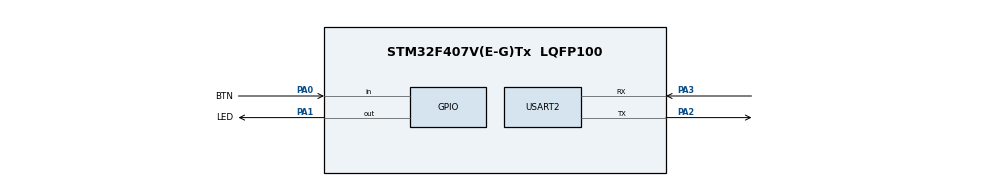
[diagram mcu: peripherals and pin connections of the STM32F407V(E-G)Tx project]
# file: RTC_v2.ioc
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Mcu.Family=STM32F4
Mcu.Name=STM32F407V(E-G)Tx
Mcu.Package=LQFP100
NVIC.PriorityGroup=NVIC_PRIORITYGROUP_4
NVIC.RTC_Alarm_IRQn=true\:0\:0\:false\:false\:true\:true\:true
PA0-WKUP.GPIO_Label=BTN
PA0-WKUP.GPIO_PuPd=GPIO_PULLDOWN
PA0-WKUP.Signal=GPIO_Input
PA1.GPIO_Label=LED
PA1.Signal=GPIO_Output
PA13.Mode=Serial_Wire
PA13.Signal=SYS_JTMS-SWDIO
PA14.Mode=Serial_Wire
PA14.Signal=SYS_JTCK-SWCLK
PA2.Mode=Asynchronous
PA2.Signal=USART2_TX
PA3.Mode=Asynchronous
PA3.Signal=USART2_RX
PH0-OSC_IN.Mode=HSE-External-Oscillator
PH0-OSC_IN.Signal=RCC_OSC_IN
PH1-OSC_OUT.Mode=HSE-External-Oscillator
PH1-OSC_OUT.Signal=RCC_OSC_OUT
ProjectManager.HeapSize=0x200
ProjectManager.StackSize=0x400
ProjectManager.TargetToolchain=STM32CubeIDE
RCC.48MHZClocksFreq_Value=84000000
RCC.AHBFreq_Value=168000000
RCC.APB1CLKDivider=RCC_HCLK_DIV4
RCC.APB1Freq_Value=42000000
RCC.APB1TimFreq_Value=84000000
RCC.APB2CLKDivider=RCC_HCLK_DIV2
RCC.APB2Freq_Value=84000000
RCC.APB2TimFreq_Value=168000000
RCC.CortexFreq_Value=168000000
RCC.HCLKFreq_Value=168000000
RCC.HSE_VALUE=8000000
RCC.HSI_VALUE=16000000
RCC.LSE_VALUE=32768
RCC.PLLM=4
RCC.PLLN=168
RCC.PLLSourceVirtual=RCC_PLLSOURCE_HSE
RCC.SYSCLKFreq_VALUE=168000000
RCC.SYSCLKSource=RCC_SYSCLKSOURCE_PLLCLK
RCC.VCOOutputFreq_Value=336000000
RTC.Alarm=RTC_ALARM_A
RTC.Date=19
RTC.Hours=12
RTC.Hours_A=12
RTC.Minutes=45
RTC.Minutes_A=46
RTC.Seconds=50
RTC.Year=21
USART2.VirtualMode=VM_ASYNC
VP_RTC_VS_RTC_Activate.Mode=RTC_Enabled
VP_RTC_VS_RTC_Alarm_A_Intern.Mode=Alarm A
VP_RTC_VS_RTC_Calendar.Mode=RTC_Calendar
board=custom

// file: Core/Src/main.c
/* USER CODE BEGIN Header */
/**
 ******************************************************************************
 * @file           : main.c
 * @brief          : Main program body
 ******************************************************************************
 * @attention
 *
 * <h2><center>&copy; Copyright (c) 2021 STMicroelectronics.
 * All rights reserved.</center></h2>
 *
 * This software component is licensed by ST under BSD 3-Clause license,
 * the "License"; You may not use this file except in compliance with the
 * License. You may obtain a copy of the License at:
 *                        opensource.org/licenses/BSD-3-Clause
 *
 ******************************************************************************
 */
/* USER CODE END Header */
#include "main.h"

/* USER CODE BEGIN Includes */
#include "stdio.h"
#include "string.h"
/* USER CODE END Includes */

RTC_HandleTypeDef hrtc;

UART_HandleTypeDef huart2;

/* USER CODE BEGIN PV */
char time[10];
char date[10];

uint8_t alarm = 0;

char TxData[] = "Buttom is pressed!\r\n"; // Массив данных которые отправляем на ПК.
char TxData2[] = "Redy!\r\n"; // Массив данных которые отправляем на ПК.
char trans_str[64] = { 0, }; // Для вывода 'Time' and 'Date' данных в UART.

RTC_TimeTypeDef sTime = { 0 };
RTC_DateTypeDef DateToUpdate = { 0 };
RTC_AlarmTypeDef sAlarm = { 0 }; // структура будильника

/* USER CODE END PV */

void SystemClock_Config(void);
static void MX_GPIO_Init(void);
static void MX_RTC_Init(void);
static void MX_USART2_UART_Init(void);

/* USER CODE BEGIN 0 */
void set_time(void) {
	RTC_TimeTypeDef sTime = { 0 };
	RTC_DateTypeDef sDate = { 0 };
	/** Initialize RTC and set the Time and Date */
	sTime.Hours = 0x12;    // 12ч.
	sTime.Minutes = 0x45;  // 45м.
	sTime.Seconds = 0x50;  // 50с.
	sTime.DayLightSaving = RTC_DAYLIGHTSAVING_NONE;
	sTime.StoreOperation = RTC_STOREOPERATION_RESET;
	if (HAL_RTC_SetTime(&hrtc, &sTime, RTC_FORMAT_BCD) != HAL_OK) {
		Error_Handler();
	}
	sDate.WeekDay = RTC_WEEKDAY_TUESDAY;
	sDate.Month = RTC_MONTH_OCTOBER;
	sDate.Date = 0x19;
	sDate.Year = 0x21;

	if (HAL_RTC_SetDate(&hrtc, &sDate, RTC_FORMAT_BCD) != HAL_OK) {
		Error_Handler();
	}
	/* Backup register to store TIME and DATE! */
	//HAL_RTCEx_BKUPWrite(&hrtc, RTC_BKP_DR1, 0x32F2);  // backup register
}

void set_alarm(void) {
	RTC_AlarmTypeDef sAlarm = { 0 };
	/** Enable the Alarm A
	 */
	sAlarm.AlarmTime.Hours = 0x12;    // 12ч.
	sAlarm.AlarmTime.Minutes = 0x46;  // 46м.
	sAlarm.AlarmTime.Seconds = 0x0; // 0 сек.
	sAlarm.AlarmTime.SubSeconds = 0x0;
	sAlarm.AlarmTime.DayLightSaving = RTC_DAYLIGHTSAVING_NONE;
	sAlarm.AlarmTime.StoreOperation = RTC_STOREOPERATION_RESET;
	sAlarm.AlarmMask = RTC_ALARMMASK_NONE;
	sAlarm.AlarmSubSecondMask = RTC_ALARMSUBSECONDMASK_ALL;
	sAlarm.AlarmDateWeekDaySel = RTC_ALARMDATEWEEKDAYSEL_DATE;
	sAlarm.AlarmDateWeekDay = 0x13; // 19
	sAlarm.Alarm = RTC_ALARM_A;
	if (HAL_RTC_SetAlarm_IT(&hrtc, &sAlarm, RTC_FORMAT_BCD) != HAL_OK) {
		Error_Handler();
	}

}

void get_time(void) {

		RTC_TimeTypeDef sTime = { 0 };
		RTC_DateTypeDef sDate = { 0 };

		/* Get the RTC current Time */
		HAL_RTC_GetTime(&hrtc, &sTime, RTC_FORMAT_BIN);
		/* Get the RTC current Date */
		HAL_RTC_GetDate(&hrtc, &sDate, RTC_FORMAT_BIN);

		/* Display time Format: hh:mm:ss */
		sprintf((char*) time, "%02d:%02d:%02d", sTime.Hours, sTime.Minutes,
				sTime.Seconds);

		/* Display date Format: mm-dd-yy */
		sprintf((char*) date, "%02d-%02d-%2d", sDate.Date, sDate.Month,
				2000 + sDate.Year);  // I like the date first

	}

	void display_time(void) { //Let's display the time and date on lcd
		//lcd_send_cmd (0x80);
		//lcd_send_string (time);
		//lcd_send_cmd (0xc0);
		//lcd_send_string (date);

		HAL_RTC_GetTime(&hrtc, &sTime, RTC_FORMAT_BIN); // RTC_FORMAT_BIN , RTC_FORMAT_BCD
		//snprintf(trans_str, 63, "Time %d:%d:%d\n", sTime.Hours, sTime.Minutes, sTime.Seconds);
		snprintf(trans_str, 63, "Time %d:%d:%d:%lu\n", sTime.Hours,sTime.Minutes, sTime.Seconds, sTime.SubSeconds);
		HAL_UART_Transmit(&huart2, (uint8_t*) trans_str, strlen(trans_str),1000);

		HAL_RTC_GetDate(&hrtc, &DateToUpdate, RTC_FORMAT_BIN);
		snprintf(trans_str, 63, "Date %d-%d-20%d\n", DateToUpdate.Date,DateToUpdate.Month, DateToUpdate.Year);
		HAL_UART_Transmit(&huart2, (uint8_t*) trans_str, strlen(trans_str),1000);

		HAL_RTC_GetAlarm(&hrtc, &sAlarm, RTC_ALARM_A, RTC_FORMAT_BIN);
		snprintf(trans_str, 63, "Alarm %d:%d:%d\n", sAlarm.AlarmTime.Hours,sAlarm.AlarmTime.Minutes, sAlarm.AlarmTime.Seconds);
		HAL_UART_Transmit(&huart2, (uint8_t*) trans_str, strlen(trans_str),1000);

		HAL_UART_Abort(&huart2); // Обрываем связь UART
	}

	void to_do_on_alarm(void)  // Действие на срабатывание будильника
	{
		HAL_GPIO_WritePin(GPIOA, GPIO_PIN_1, 0);  // set led ON
		//lcd_send_cmd (0x80);
		//lcd_send_string ("SUBSCRIBE TO");
		//lcd_send_cmd (0xc0);
		//lcd_send_string ("this CHANNEL");
		//HAL_Delay (3000);
		//lcd_send_cmd (0x80);
		//for (int i=0;i<60;i++)
		//{
		//lcd_send_data (' ');  // clear lcd
		//}
	}
	/* USER CODE END 0 */

	/**
	 * @brief  The application entry point.
	 * @retval int
	 */
	int main(void) {

		/* MCU Configuration--------------------------------------------------------*/

		/* Reset of all peripherals, Initializes the Flash interface and the Systick. */
		HAL_Init();

		/* Configure the system clock */
		SystemClock_Config();

		/* Initialize all configured peripherals */
		MX_GPIO_Init();
		MX_RTC_Init();
		MX_USART2_UART_Init();
		/* USER CODE BEGIN 2 */
		HAL_GPIO_WritePin(GPIOA, GPIO_PIN_1, 1);  // Отключим по дефолку LED

		/* Backup register to store TIME and DATE! */
		if (HAL_RTCEx_BKUPRead(&hrtc, RTC_BKP_DR1) != 0x32F2) // Time is not restting now!
				{
		set_time(); // Set the time
		}

		set_alarm();

		HAL_UART_Transmit(&huart2, (uint8_t*) TxData2, sizeof(TxData2), 500);
		/* USER CODE END 2 */

		/* Infinite loop */
		while (1) {

			/* USER CODE BEGIN 3 */
			if (HAL_GPIO_ReadPin(GPIOA, GPIO_PIN_0) == GPIO_PIN_SET) {
				display_time();
				HAL_Delay(1000);
			}

			//display_time();
			get_time();
			HAL_Delay(500);

			if (alarm) {
				to_do_on_alarm();
				alarm = 0;
			}
		}
		/* USER CODE END 3 */
	}

	/**
	 * @brief System Clock Configuration
	 * @retval None
	 */
	void SystemClock_Config(void) {
		RCC_OscInitTypeDef RCC_OscInitStruct = { 0 };
		RCC_ClkInitTypeDef RCC_ClkInitStruct = { 0 };

		/** Configure the main internal regulator output voltage
		 */
		__HAL_RCC_PWR_CLK_ENABLE();
		__HAL_PWR_VOLTAGESCALING_CONFIG(PWR_REGULATOR_VOLTAGE_SCALE1);
		/** Initializes the RCC Oscillators according to the specified parameters
		 * in the RCC_OscInitTypeDef structure.
		 */
		RCC_OscInitStruct.OscillatorType = RCC_OSCILLATORTYPE_LSI
				| RCC_OSCILLATORTYPE_HSE;
		RCC_OscInitStruct.HSEState = RCC_HSE_ON;
		RCC_OscInitStruct.LSIState = RCC_LSI_ON;
		RCC_OscInitStruct.PLL.PLLState = RCC_PLL_ON;
		RCC_OscInitStruct.PLL.PLLSource = RCC_PLLSOURCE_HSE;
		RCC_OscInitStruct.PLL.PLLM = 4;
		RCC_OscInitStruct.PLL.PLLN = 168;
		RCC_OscInitStruct.PLL.PLLP = RCC_PLLP_DIV2;
		RCC_OscInitStruct.PLL.PLLQ = 4;
		if (HAL_RCC_OscConfig(&RCC_OscInitStruct) != HAL_OK) {
			Error_Handler();
		}
		/** Initializes the CPU, AHB and APB buses clocks
		 */
		RCC_ClkInitStruct.ClockType = RCC_CLOCKTYPE_HCLK | RCC_CLOCKTYPE_SYSCLK
				| RCC_CLOCKTYPE_PCLK1 | RCC_CLOCKTYPE_PCLK2;
		RCC_ClkInitStruct.SYSCLKSource = RCC_SYSCLKSOURCE_PLLCLK;
		RCC_ClkInitStruct.AHBCLKDivider = RCC_SYSCLK_DIV1;
		RCC_ClkInitStruct.APB1CLKDivider = RCC_HCLK_DIV4;
		RCC_ClkInitStruct.APB2CLKDivider = RCC_HCLK_DIV2;

		if (HAL_RCC_ClockConfig(&RCC_ClkInitStruct, FLASH_LATENCY_5)
				!= HAL_OK) {
			Error_Handler();
		}
	}

	/**
	 * @brief RTC Initialization Function
	 * @param None
	 * @retval None
	 */
	static void MX_RTC_Init(void) {

//  RTC_TimeTypeDef sTime = {0};
//  RTC_DateTypeDef sDate = {0};
//  RTC_AlarmTypeDef sAlarm = {0};
		/** Initialize RTC Only
		 */
		hrtc.Instance = RTC;
		hrtc.Init.HourFormat = RTC_HOURFORMAT_24;
		hrtc.Init.AsynchPrediv = 127;
		hrtc.Init.SynchPrediv = 255;
		hrtc.Init.OutPut = RTC_OUTPUT_DISABLE;
		hrtc.Init.OutPutPolarity = RTC_OUTPUT_POLARITY_HIGH;
		hrtc.Init.OutPutType = RTC_OUTPUT_TYPE_OPENDRAIN;
		if (HAL_RTC_Init(&hrtc) != HAL_OK) {
			Error_Handler();
		}

		/** Initialize RTC and set the Time and Date
		 */
//  sTime.Hours = 0x12;
//  sTime.Minutes = 0x45;
//  sTime.Seconds = 0x50;
//  sTime.DayLightSaving = RTC_DAYLIGHTSAVING_NONE;
//  sTime.StoreOperation = RTC_STOREOPERATION_RESET;
//  if (HAL_RTC_SetTime(&hrtc, &sTime, RTC_FORMAT_BCD) != HAL_OK)
//  {
//    Error_Handler();
//  }
//  sDate.WeekDay = RTC_WEEKDAY_MONDAY;
//  sDate.Month = RTC_MONTH_JANUARY;
//  sDate.Date = 0x19;
//  sDate.Year = 0x21;
//
//  if (HAL_RTC_SetDate(&hrtc, &sDate, RTC_FORMAT_BCD) != HAL_OK)
//  {
//    Error_Handler();
//  }
//  /** Enable the Alarm A
//  */
//  sAlarm.AlarmTime.Hours = 0x12;
//  sAlarm.AlarmTime.Minutes = 0x46;
//  sAlarm.AlarmTime.Seconds = 0x0;
//  sAlarm.AlarmTime.SubSeconds = 0x0;
//  sAlarm.AlarmTime.DayLightSaving = RTC_DAYLIGHTSAVING_NONE;
//  sAlarm.AlarmTime.StoreOperation = RTC_STOREOPERATION_RESET;
//  sAlarm.AlarmMask = RTC_ALARMMASK_NONE;
//  sAlarm.AlarmSubSecondMask = RTC_ALARMSUBSECONDMASK_ALL;
//  sAlarm.AlarmDateWeekDaySel = RTC_ALARMDATEWEEKDAYSEL_DATE;
//  sAlarm.AlarmDateWeekDay = 0x1;
//  sAlarm.Alarm = RTC_ALARM_A;
//  if (HAL_RTC_SetAlarm_IT(&hrtc, &sAlarm, RTC_FORMAT_BCD) != HAL_OK)
//  {
//    Error_Handler();
//  }

	}

	/**
	 * @brief USART2 Initialization Function
	 * @param None
	 * @retval None
	 */
	static void MX_USART2_UART_Init(void) {

		huart2.Instance = USART2;
		huart2.Init.BaudRate = 115200;
		huart2.Init.WordLength = UART_WORDLENGTH_8B;
		huart2.Init.StopBits = UART_STOPBITS_1;
		huart2.Init.Parity = UART_PARITY_NONE;
		huart2.Init.Mode = UART_MODE_TX_RX;
		huart2.Init.HwFlowCtl = UART_HWCONTROL_NONE;
		huart2.Init.OverSampling = UART_OVERSAMPLING_16;
		if (HAL_UART_Init(&huart2) != HAL_OK) {
			Error_Handler();
		}

	}

	/**
	 * @brief GPIO Initialization Function
	 * @param None
	 * @retval None
	 */
	static void MX_GPIO_Init(void) {
		GPIO_InitTypeDef GPIO_InitStruct = { 0 };

		/* GPIO Ports Clock Enable */
		__HAL_RCC_GPIOH_CLK_ENABLE();
		__HAL_RCC_GPIOA_CLK_ENABLE();

		/*Configure GPIO pin Output Level */
		HAL_GPIO_WritePin(LED_GPIO_Port, LED_Pin, GPIO_PIN_RESET);

		/*Configure GPIO pin : BTN_Pin */
		GPIO_InitStruct.Pin = BTN_Pin;
		GPIO_InitStruct.Mode = GPIO_MODE_INPUT;
		GPIO_InitStruct.Pull = GPIO_PULLDOWN;
		HAL_GPIO_Init(BTN_GPIO_Port, &GPIO_InitStruct);

		/*Configure GPIO pin : LED_Pin */
		GPIO_InitStruct.Pin = LED_Pin;
		GPIO_InitStruct.Mode = GPIO_MODE_OUTPUT_PP;
		GPIO_InitStruct.Pull = GPIO_NOPULL;
		GPIO_InitStruct.Speed = GPIO_SPEED_FREQ_LOW;
		HAL_GPIO_Init(LED_GPIO_Port, &GPIO_InitStruct);

	}

	/* USER CODE BEGIN 4 */
	/*** Callback будилькина ***/
	void HAL_RTC_AlarmAEventCallback(RTC_HandleTypeDef *hrtc) {
		snprintf(trans_str, 63, "ALARM\n");
		HAL_UART_Transmit(&huart2, (uint8_t*) trans_str, strlen(trans_str),
				1000);

		alarm = 1;
	}
	/* USER CODE END 4 */

	/**
	 * @brief  This function is executed in case of error occurrence.
	 * @retval None
	 */
	void Error_Handler(void) {
		__disable_irq();
		while (1) {
		}
	}

	/************************ (C) COPYRIGHT STMicroelectronics *****END OF FILE****/
